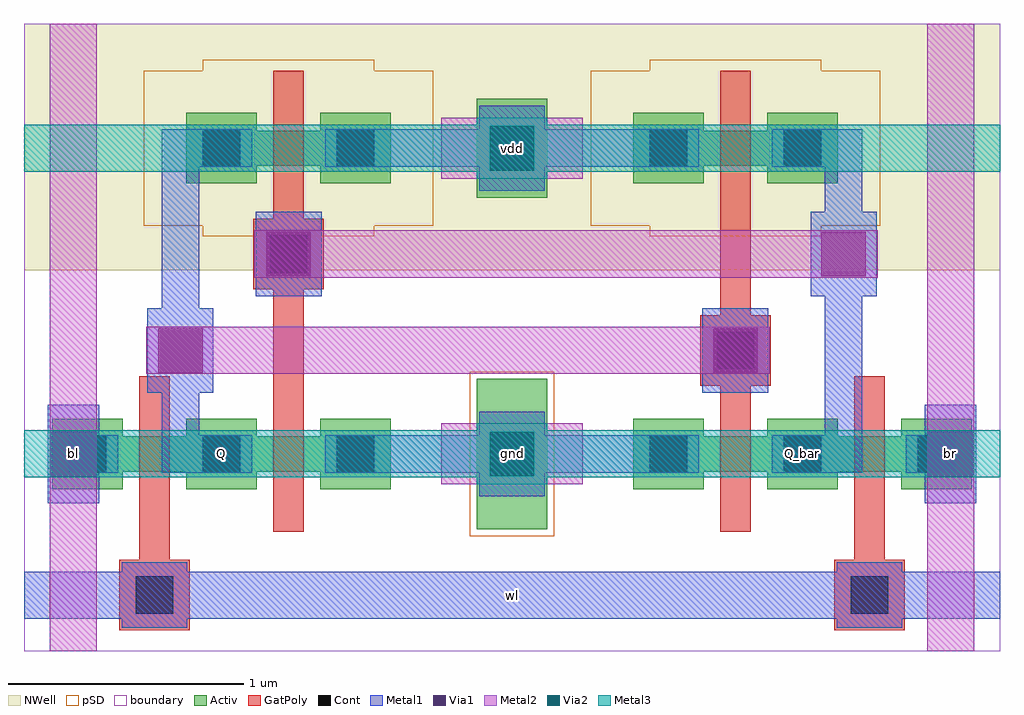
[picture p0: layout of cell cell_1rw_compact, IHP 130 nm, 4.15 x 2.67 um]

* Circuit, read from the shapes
.subckt cell_1rw_compact Q Q_bar bl br gnd vdd wl
XM1 Q wl bl gnd sg13_lv_nmos w=0.15u l=0.13u
XM2 gnd Q_bar Q gnd sg13_lv_nmos w=0.15u l=0.13u
XM3 Q_bar Q gnd gnd sg13_lv_nmos w=0.15u l=0.13u
XM4 br wl Q_bar gnd sg13_lv_nmos w=0.15u l=0.13u
XM5 vdd Q_bar Q vdd sg13_lv_pmos w=0.15u l=0.13u
XM6 Q_bar Q vdd vdd sg13_lv_pmos w=0.15u l=0.13u
.ends

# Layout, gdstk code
import gdstk
lib = gdstk.Library(unit=1e-6, precision=1e-09)
def R(c, l, rs):  # rectangles x0, y0, x1, y1
    for r in rs: c.add(gdstk.rectangle(r[:2], r[2:], *l))
def A(c, l, x, y, w, h, nx, ny, dx, dy):  # array of equal rectangles
    R(c, l, [(x+i*dx, y+j*dy, x+i*dx+w, y+j*dy+h) for i in range(nx) for j in range(ny)])
Activ = (1, 0)
GatPoly = (5, 0)
Cont = (6, 0)
Metal1 = (8, 0)
Metal2 = (10, 0)
pSD = (14, 0)
Via1 = (19, 0)
Via2 = (29, 0)
Metal3 = (30, 0)
NWell = (31, 0)
boundary = (189, 4)

cell_1rw_compact = lib.new_cell('cell_1rw_compact')
A(cell_1rw_compact, Activ, -1.955, -0.15, 0.3, 0.075, 3, 2, 0.57, 0.225)
A(cell_1rw_compact, Activ, 0.515, -0.15, 0.3, 0.075, 3, 2, 0.57, 0.225)
R(cell_1rw_compact, Activ, [(-0.15,-0.32,0.15,0.32), (-1.955,-0.075,-0.515,0.075), (0.515,-0.075,1.955,0.075), (-0.15,1.09,0.15,1.51), (-1.385,1.15,-1.085,1.225), (-0.815,1.15,-0.515,1.225), (0.515,1.15,0.815,1.225), (1.085,1.15,1.385,1.225), (-1.385,1.225,-0.515,1.375), (0.515,1.225,1.385,1.375), (-1.385,1.375,-1.085,1.45), (-0.815,1.375,-0.515,1.45), (0.515,1.375,0.815,1.45), (1.085,1.375,1.385,1.45)])
R(cell_1rw_compact, GatPoly, [(-1.67,-0.75,-1.37,-0.45), (1.37,-0.75,1.67,-0.45), (-1.585,-0.45,-1.455,0.33), (1.455,-0.45,1.585,0.33), (-1.015,-0.33,-0.885,0.7), (0.885,-0.33,1.015,0.29), (0.8,0.29,1.1,0.59), (0.885,0.59,1.015,1.63), (-1.1,0.7,-0.8,1), (-1.015,1,-0.885,1.63)])
A(cell_1rw_compact, Cont, -1.885, -0.08, 0.16, 0.16, 3, 1, 0.57, 0)
A(cell_1rw_compact, Cont, 0.585, -0.08, 0.16, 0.16, 3, 1, 0.57, 0)
A(cell_1rw_compact, Cont, -0.745, 1.22, 0.16, 0.16, 3, 1, 0.665, 0)
R(cell_1rw_compact, Cont, [(-1.6,-0.68,-1.44,-0.52), (1.44,-0.68,1.6,-0.52), (-0.08,-0.08,0.08,0.08), (0.87,0.36,1.03,0.52), (-1.03,0.77,-0.87,0.93), (-1.315,1.22,-1.155,1.38), (1.155,1.22,1.315,1.38)])
R(cell_1rw_compact, Metal1, [(-1.66,-0.74,-1.38,-0.7), (1.38,-0.74,1.66,-0.7), (-2.075,-0.7,2.075,-0.5), (-1.66,-0.5,-1.38,-0.46), (1.38,-0.5,1.66,-0.46), (-1.975,-0.21,-1.755,-0.08), (1.755,-0.21,1.975,-0.08), (-0.14,-0.18,0.14,-0.08), (-1.975,-0.08,-1.675,0.08), (-1.49,-0.08,-1.105,0.08), (-0.795,-0.08,0.795,0.08), (1.105,-0.08,1.49,0.08), (1.675,-0.08,1.975,0.08), (-1.975,0.08,-1.755,0.21), (-1.49,0.08,-1.33,0.26), (-0.14,0.08,0.14,0.18), (1.33,0.08,1.49,0.67), (1.755,0.08,1.975,0.21), (-1.55,0.26,-1.27,0.62), (0.81,0.26,1.09,0.62), (-1.49,0.62,-1.33,1.22), (-1.09,0.67,-0.81,1.03), (1.27,0.67,1.55,1.03), (1.33,1.03,1.49,1.22), (-0.14,1.12,0.14,1.22), (-1.49,1.22,-1.105,1.38), (-0.795,1.22,0.795,1.38), (1.105,1.22,1.49,1.38), (-0.14,1.38,0.14,1.48)])
R(cell_1rw_compact, Metal2, [(-1.965,-0.84,-1.765,1.83), (1.765,-0.84,1.965,1.83), (-0.3,-0.13,0.3,0.13), (-1.555,0.34,1.095,0.54), (-1.095,0.75,1.555,0.95), (-0.3,1.17,0.3,1.43)])
R(cell_1rw_compact, pSD, [(-0.18,-0.35,0.18,0.35), (-1.315,0.925,-0.585,0.97), (0.585,0.925,1.315,0.97), (-1.565,0.97,-0.335,1.63), (0.335,0.97,1.565,1.63), (-1.315,1.63,-0.585,1.675), (0.585,1.63,1.315,1.675)])
A(cell_1rw_compact, Via1, -1.96, -0.095, 0.19, 0.19, 3, 1, 1.865, 0)
R(cell_1rw_compact, Via1, [(-1.505,0.345,-1.315,0.535), (0.855,0.345,1.045,0.535), (-1.045,0.755,-0.855,0.945), (1.315,0.755,1.505,0.945), (-0.095,1.205,0.095,1.395)])
R(cell_1rw_compact, Via2, [(-0.095,-0.095,0.095,0.095), (-0.095,1.205,0.095,1.395)])
R(cell_1rw_compact, Metal3, [(-0.15,-0.13,0.15,-0.1), (-2.075,-0.1,2.075,0.1), (-0.15,0.1,0.15,0.13), (-0.15,1.17,0.15,1.2), (-2.075,1.2,2.075,1.4), (-0.15,1.4,0.15,1.43)])
R(cell_1rw_compact, NWell, [(-2.075,0.78,2.075,1.83)])
R(cell_1rw_compact, boundary, [(-2.075,-0.84,2.075,1.83)])
cell_1rw_compact.add(gdstk.Label('Q', (-1.235,0), layer=8, texttype=25))
cell_1rw_compact.add(gdstk.Label('Q_bar', (1.235,0), layer=8, texttype=25))
cell_1rw_compact.add(gdstk.Label('bl', (-1.865,0), layer=10, texttype=25))
cell_1rw_compact.add(gdstk.Label('br', (1.865,0), layer=10, texttype=25))
cell_1rw_compact.add(gdstk.Label('wl', (0,-0.6), layer=8, texttype=25))
cell_1rw_compact.add(gdstk.Label('vdd', (0,1.3), layer=30, texttype=25))
cell_1rw_compact.add(gdstk.Label('gnd', (0,0), layer=30, texttype=25))

lib.write_gds('cell_1rw_compact.gds')
